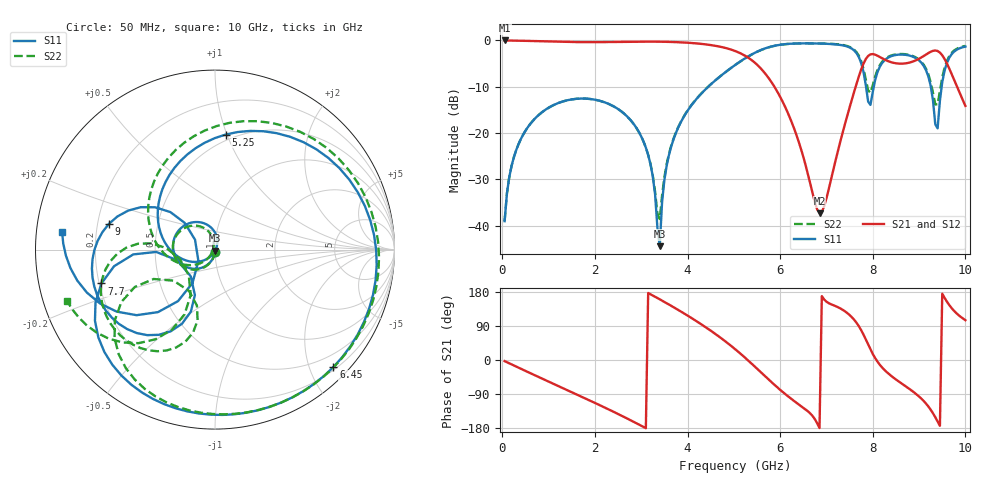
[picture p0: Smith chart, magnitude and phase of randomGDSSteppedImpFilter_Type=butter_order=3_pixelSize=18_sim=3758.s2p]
! freq	dB(S11)	phase(S11)	dB(S12)	phase(S12)
!  dB(S21)	phase(S21)	dB(S22)	phase(S22)
!S-par simulation data
#  GHz  S  DB  R 50
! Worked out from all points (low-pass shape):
!   200 points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, 50 MHz to 10 GHz, reference 50 ohm
!   highest |S21| = 0.00 dB at 50 MHz (marker M1); lowest = -37.3 dB at 6.85 GHz (marker M2)
!   |S21| within 3 dB of the highest: start of sweep to 5.188 GHz; 9.157 GHz to 9.483 GHz (326.3 MHz wide, 3.5 % of centre)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
!   lowest |S11| = -44.5 dB at 3.4 GHz (marker M3), VSWR 1.01, Z = 50.2 - j0.578 ohm
!   |S11| at or under -10 dB: start of sweep to 4.447 GHz; 7.854 GHz to 8.023 GHz (168.1 MHz wide, 2.12 % of centre); 9.254 GHz to 9.488 GHz (234.1 MHz wide, 2.5 % of centre)
!   |S22| runs from -39.1 to -0.6 dB; largest |S21 - S12| = 0
!   S11 on the Smith chart (normalised r, x): 50 MHz: 1.00, -0.02; 5.25 GHz: 0.45, +0.99; 6.45 GHz: 0.25, -2.40; 7.7 GHz: 0.21, -0.14; 9 GHz: 0.25, +0.11; 10 GHz: 0.08, +0.06
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0.05  -39.06 -92.6  -0.00 -2.9  -0.00 -2.9  -39.05 -92.4
0.5  -19.52 -120.0  -0.09 -28.8  -0.09 -28.8  -19.52 -118.4
1.75  -12.56 167.3  -0.37 -99.0  -0.37 -99.0  -12.56 173.4
3  -20.75 89.0  -0.26 -173.5  -0.26 -173.5  -20.76 106.0
3.25  -29.40 68.4  -0.26 170.2  -0.26 170.2  -29.22 101.3
3.4  -44.46 -74.3  -0.27 160.1  -0.27 160.1  -38.60 -170.1
3.5  -30.17 -117.2  -0.29 153.3  -0.29 153.3  -29.56 -130.7
3.75  -19.97 -139.9  -0.36 135.7  -0.36 135.7  -19.86 -135.2
4.4  -10.45 167.2  -0.86 85.8  -0.86 85.8  -10.43 -179.7
5.05  -5.15 106.1  -2.37 26.4  -2.37 26.4  -5.16 121.9
5.25  -3.82 84.6  -3.35 5.2  -3.35 5.2  -3.84 100.5
5.9  -1.11 10.7  -10.40 -68.0  -10.40 -68.0  -1.12 24.8
6.45  -0.64 -44.8  -23.47 -121.5  -23.47 -121.5  -0.63 -32.2
6.7  -0.64 -66.7  -33.01 -147.7  -33.01 -147.7  -0.62 -54.2
6.85  -0.67 -79.2  -37.32 -179.6  -37.32 -179.6  -0.64 -66.6
7.7  -3.61 -163.4  -7.74 89.0  -7.74 89.0  -3.33 -144.9
7.95  -13.93 -132.1  -3.01 28.0  -3.01 28.0  -11.31 -122.3
8.35  -3.61 -137.8  -4.55 -37.2  -4.55 -37.2  -3.45 -123.4
9  -4.32 166.3  -3.96 -96.4  -3.96 -96.4  -4.15 -169.7
9.4  -19.01 -145.5  -2.28 -162.2  -2.28 -162.2  -13.81 -135.8
9.6  -4.89 -140.1  -4.96 154.2  -4.96 154.2  -4.45 -123.5
10  -1.33 173.4  -14.16 105.0  -14.16 105.0  -1.19 -160.7
